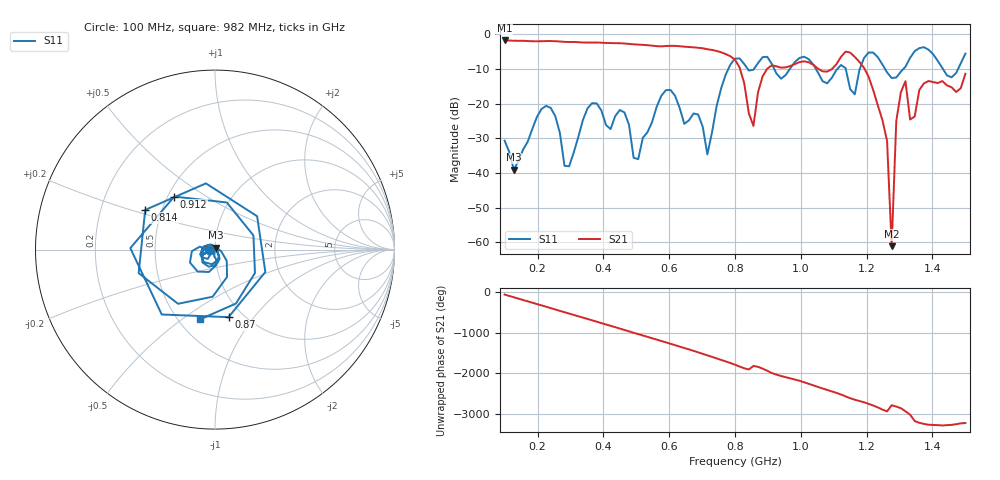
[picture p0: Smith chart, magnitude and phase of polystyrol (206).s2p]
! NanoVNA-App
! Date: 2025-09-25 15:31:29
! Start: 100MHz Stop: 1,5GHz Points: 101
! S-Parameter data: F S11 S21 S12 S22
# Hz S RI R 50
!  Frequency  S11_Real  S11_Imag  S21_Real  S21_Imag  S12_Real  S12_Imag  S22_Real  S22_Imag
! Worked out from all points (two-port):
!   101 points, 100 MHz to 1.5 GHz, reference 50 ohm
!   highest |S21| = -1.80 dB at 100 MHz (marker M1); lowest = -61.1 dB at 1.276 GHz (marker M2)
!   |S21| within 3 dB of the highest: start of sweep to 743.1 MHz
!   lowest |S11| = -39.1 dB at 128 MHz (marker M3), VSWR 1.02, Z = 50.3 + j1.06 ohm
!   |S11| at or under -10 dB: start of sweep to 779.9 MHz; 1.046 GHz to 1.111 GHz (65.59 MHz wide, 6.08 % of centre); 1.256 GHz to 1.312 GHz (56.07 MHz wide, 4.37 % of centre) (the widest 3 of 7)
!   S12 and S22 are empty: the file has one direction only
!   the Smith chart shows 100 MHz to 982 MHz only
!   S11 on the Smith chart (normalised r, x): 100 MHz: 0.94, -0.01; 814 MHz: 0.40, +0.22; 870 MHz: 0.86, -0.76; 912 MHz: 0.54, +0.37; 982 MHz: 0.63, -0.59
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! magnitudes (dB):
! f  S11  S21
! 100 MHz  -30.7  -1.8
! 128 MHz  -39.1  -1.9
! 212 MHz  -21.6  -2.0
! 282 MHz  -38.0  -2.2
! 338 MHz  -24.7  -2.4
! 506 MHz  -36.0  -3.0
! 576 MHz  -17.8  -3.5
! 716 MHz  -34.7  -4.3
! 800 MHz  -7.0  -7.4
! 814 MHz  -7.0  -9.6
! 856 MHz  -10.3  -26.5
! 870 MHz  -8.3  -16.7
! 912 MHz  -8.6  -9.0
! 982 MHz  -8.0  -8.6
! 1.038 GHz  -8.7  -8.8
! 1.206 GHz  -5.3  -12.3
! 1.262 GHz  -11.0  -30.8
! 1.276 GHz  -12.6  -61.1
! 1.29 GHz  -12.5  -25.0
! 1.318 GHz  -9.4  -13.6
! 1.332 GHz  -6.8  -24.6
! 1.5 GHz  -5.6  -11.4
